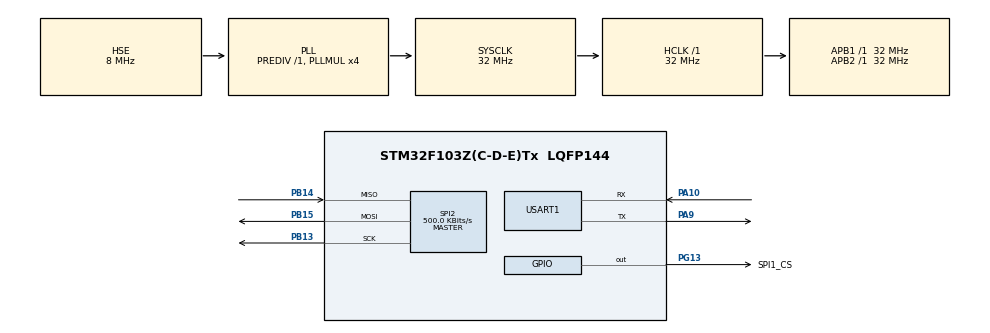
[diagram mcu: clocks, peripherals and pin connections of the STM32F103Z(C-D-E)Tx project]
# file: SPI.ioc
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Mcu.Family=STM32F1
Mcu.Name=STM32F103Z(C-D-E)Tx
Mcu.Package=LQFP144
NVIC.PriorityGroup=NVIC_PRIORITYGROUP_4
NVIC.USART1_IRQn=true\:0\:0\:false\:false\:true\:true\:true
OSC_IN.Mode=HSE-External-Oscillator
OSC_IN.Signal=RCC_OSC_IN
OSC_OUT.Mode=HSE-External-Oscillator
OSC_OUT.Signal=RCC_OSC_OUT
PA10.Mode=Asynchronous
PA10.Signal=USART1_RX
PA13.Mode=Serial_Wire
PA13.Signal=SYS_JTMS-SWDIO
PA14.Mode=Serial_Wire
PA14.Signal=SYS_JTCK-SWCLK
PA9.Mode=Asynchronous
PA9.Signal=USART1_TX
PB13.Mode=Full_Duplex_Master
PB13.Signal=SPI2_SCK
PB14.Mode=Full_Duplex_Master
PB14.Signal=SPI2_MISO
PB15.Mode=Full_Duplex_Master
PB15.Signal=SPI2_MOSI
PG13.GPIO_Label=SPI1_CS
PG13.Signal=GPIO_Output
ProjectManager.HeapSize=0x200
ProjectManager.StackSize=0x400
ProjectManager.TargetToolchain=MDK-ARM V5.27
RCC.AHBFreq_Value=32000000
RCC.APB1Freq_Value=32000000
RCC.APB1TimFreq_Value=32000000
RCC.APB2Freq_Value=32000000
RCC.APB2TimFreq_Value=32000000
RCC.HCLKFreq_Value=32000000
RCC.PLLMUL=RCC_PLL_MUL4
RCC.PLLSourceVirtual=RCC_PLLSOURCE_HSE
RCC.SYSCLKFreq_VALUE=32000000
RCC.SYSCLKSource=RCC_SYSCLKSOURCE_PLLCLK
RCC.USBFreq_Value=32000000
SPI2.BaudRatePrescaler=SPI_BAUDRATEPRESCALER_64
SPI2.CalculateBaudRate=500.0 KBits/s
SPI2.Direction=SPI_DIRECTION_2LINES
SPI2.Mode=SPI_MODE_MASTER
SPI2.VirtualType=VM_MASTER
USART1.VirtualMode=VM_ASYNC
board=custom

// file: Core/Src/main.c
/* USER CODE BEGIN Header */
/**
  ******************************************************************************
  * @file           : main.c
  * @brief          : Main program body
  ******************************************************************************
  * @attention
  *
  * <h2><center>&copy; Copyright (c) 2020 STMicroelectronics.
  * All rights reserved.</center></h2>
  *
  * This software component is licensed by ST under BSD 3-Clause license,
  * the "License"; You may not use this file except in compliance with the
  * License. You may obtain a copy of the License at:
  *                        opensource.org/licenses/BSD-3-Clause
  *
  ******************************************************************************
  */
/* USER CODE END Header */
#include "main.h"
#include "spi.h"
#include "usart.h"
#include "gpio.h"

/* USER CODE BEGIN Includes */
#include "stdio.h"
#include "W25QXX.h"
#include "string.h"
/* USER CODE END Includes */

void SystemClock_Config(void);

/* USER CODE BEGIN 0 */

uint8_t rdate[0x100];
uint8_t wdate[0x100];
uint8_t ID[2];
uint32_t i;

/* USER CODE END 0 */

int main(void)
{

  /* MCU Configuration--------------------------------------------------------*/

  /* Reset of all peripherals, Initializes the Flash interface and the Systick. */
  HAL_Init();

  /* Configure the system clock */
  SystemClock_Config();

  /* Initialize all configured peripherals */
  MX_GPIO_Init();
  MX_USART1_UART_Init();
  MX_SPI2_Init();
  /* USER CODE BEGIN 2 */

	printf("\r\n\r\n/*********************SPI测试*************************/\r\n\r\n");
	BSP_W25Qx_Init(); //W25Qx芯片初始化
	BSP_W25Qx_Read_ID(ID); //读取W25Qx芯片ID
	printf("\r\n\r\nW25Qxx ID is: 0x%02x 0x%02x\r\n\r\n",ID[0],ID[1]); //打印W25Qx的ID

	if(BSP_W25Qx_Erase_Block(0)==HAL_OK)//判断W25Qx擦除块是否完成
	{
		printf("SPI erase block ok\r\n");
	}
	else
		Error_Handler();

	for(i=0;i<0x100;i++)//写入wdate、rdate数据缓存
	{
		wdate[i]=i;
		rdate[i]=0;
	}
	if(BSP_W25Qx_Write(wdate,0x00,0x100))//通过SPI通信向W25Qx写入数据
	{
		printf("SPI write ok\r\n");
	}
	else
		Error_Handler();
	if(BSP_W25Qx_Read(rdate,0x00,0x100))//通过SPI通信向W25Qx读取数据
	{
		printf("SPI read ok\r\n");
	}
	else
		Error_Handler();

	printf("SPI read date is:\r\n");
	for(i=0;i<0x100;i++)//通过串口打印出读取到的数据
	 printf("0x%02x  ",rdate[i]);
	printf("\r\n");
	if(memcmp(rdate,wdate,0x100)==HAL_OK)//判断SPI通信是否完成
		printf("SPI communication to complete\r\n");
	else
		printf("SPI communication failure");

  /* USER CODE END 2 */

  /* Infinite loop */
  while (1)
  {

  }
}

void SystemClock_Config(void)
{
  RCC_OscInitTypeDef RCC_OscInitStruct = {0};
  RCC_ClkInitTypeDef RCC_ClkInitStruct = {0};

  /** Initializes the RCC Oscillators according to the specified parameters
  * in the RCC_OscInitTypeDef structure.
  */
  RCC_OscInitStruct.OscillatorType = RCC_OSCILLATORTYPE_HSE;
  RCC_OscInitStruct.HSEState = RCC_HSE_ON;
  RCC_OscInitStruct.HSEPredivValue = RCC_HSE_PREDIV_DIV1;
  RCC_OscInitStruct.HSIState = RCC_HSI_ON;
  RCC_OscInitStruct.PLL.PLLState = RCC_PLL_ON;
  RCC_OscInitStruct.PLL.PLLSource = RCC_PLLSOURCE_HSE;
  RCC_OscInitStruct.PLL.PLLMUL = RCC_PLL_MUL4;
  if (HAL_RCC_OscConfig(&RCC_OscInitStruct) != HAL_OK)
  {
    Error_Handler();
  }
  /** Initializes the CPU, AHB and APB buses clocks
  */
  RCC_ClkInitStruct.ClockType = RCC_CLOCKTYPE_HCLK|RCC_CLOCKTYPE_SYSCLK
                              |RCC_CLOCKTYPE_PCLK1|RCC_CLOCKTYPE_PCLK2;
  RCC_ClkInitStruct.SYSCLKSource = RCC_SYSCLKSOURCE_PLLCLK;
  RCC_ClkInitStruct.AHBCLKDivider = RCC_SYSCLK_DIV1;
  RCC_ClkInitStruct.APB1CLKDivider = RCC_HCLK_DIV1;
  RCC_ClkInitStruct.APB2CLKDivider = RCC_HCLK_DIV1;

  if (HAL_RCC_ClockConfig(&RCC_ClkInitStruct, FLASH_LATENCY_1) != HAL_OK)
  {
    Error_Handler();
  }
}

void Error_Handler(void)
{
}

/************************ (C) COPYRIGHT STMicroelectronics *****END OF FILE****/
